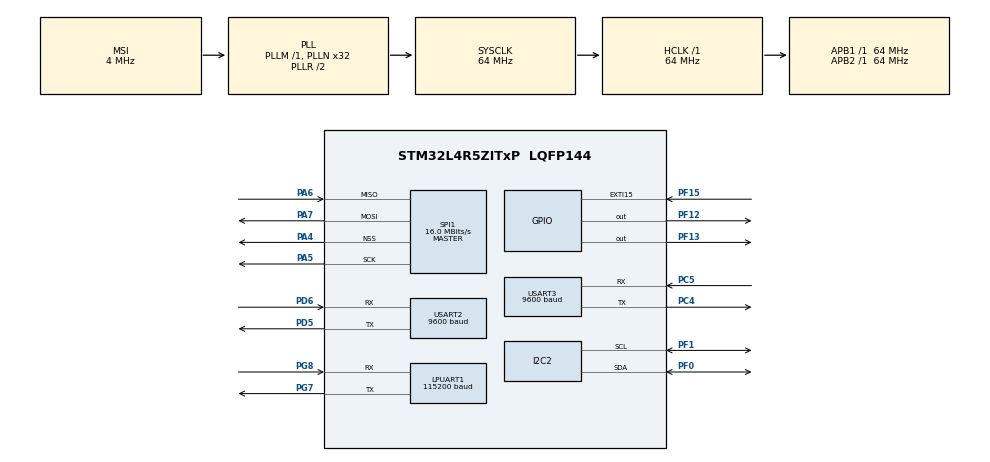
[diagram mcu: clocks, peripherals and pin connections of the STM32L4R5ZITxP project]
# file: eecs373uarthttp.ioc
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I2C2.Timing=0x10707DBC
LPUART1.BaudRate=115200
LPUART1.WordLength=UART_WORDLENGTH_8B
Mcu.Family=STM32L4
Mcu.Name=STM32L4R5ZITxP
Mcu.Package=LQFP144
NVIC.EXTI15_10_IRQn=true\:0\:0\:false\:false\:true\:true\:true\:true
NVIC.PriorityGroup=NVIC_PRIORITYGROUP_4
NVIC.TIM1_UP_TIM16_IRQn=true\:0\:0\:false\:false\:true\:true\:true\:true
NVIC.USART3_IRQn=true\:0\:0\:false\:false\:true\:true\:true\:true
PA0.Signal=S_TIM2_CH1
PA10.Signal=USB_OTG_FS_ID
PA13\ (JTMS/SWDIO).Signal=SYS_JTMS-SWDIO
PA14\ (JTCK/SWCLK).Signal=SYS_JTCK-SWCLK
PA3.Signal=ADCx_IN8
PA4.Mode=NSS_Signal_Hard_Output
PA4.Signal=SPI1_NSS
PA5.Mode=Full_Duplex_Master
PA5.Signal=SPI1_SCK
PA6.Mode=Full_Duplex_Master
PA6.Signal=SPI1_MISO
PA7.Mode=Full_Duplex_Master
PA7.Signal=SPI1_MOSI
PA8.Signal=USB_OTG_FS_SOF
PA9.Signal=USB_OTG_FS_VBUS
PB0.Signal=S_TIM3_CH3
PB1.Signal=ADCx_IN16
PB10.Signal=S_TIM2_CH3
PB12.Signal=SAI2_FS_A
PB13.Signal=SAI2_SCK_A
PB14.Signal=S_TIM15_CH1
PB15.Signal=SAI2_SD_A
PB2.Signal=COMP1_INP
PB3\ (JTDO/TRACESWO).Signal=SPI3_SCK
PB4\ (NJTRST).Signal=SPI3_MISO
PB5.Signal=SPI3_MOSI
PB6.Signal=COMP2_INP
PB8.GPIO_Pu=GPIO_PULLUP
PB8.Signal=I2C1_SCL
PB9.GPIO_Pu=GPIO_PULLUP
PB9.Signal=I2C1_SDA
PC0.Signal=ADCx_IN1
PC1.Signal=ADCx_IN2
PC10.Signal=SDMMC1_D2
PC11.Signal=SDMMC1_D3
PC12.Signal=SDMMC1_CK
PC13.Signal=SYS_WKUP2
PC14-OSC32_IN\ (PC14).Signal=RCC_OSC32_IN
PC15-OSC32_OUT\ (PC15).Signal=RCC_OSC32_OUT
PC2.Signal=ADCx_IN3
PC3.Signal=ADCx_IN4
PC4.Mode=Asynchronous
PC4.Signal=USART3_TX
PC5.Mode=Asynchronous
PC5.Signal=USART3_RX
PC6.Signal=SAI2_MCLK_A
PC7.Signal=S_TIM3_CH2
PC8.Signal=SDMMC1_D0
PC9.Signal=SDMMC1_D1
PD0.Signal=CAN1_RX
PD14.Signal=S_TIM4_CH3
PD15.Signal=S_TIM4_CH4
PD2.Signal=SDMMC1_CMD
PD3.Signal=USART2_CTS
PD4.Signal=USART2_RTS
PD5.Mode=Asynchronous
PD5.Signal=USART2_TX
PD6.Mode=Asynchronous
PD6.Signal=USART2_RX
PE0.Signal=S_TIM4_ETR
PE10.Signal=TIM1_CH2N
PE11.Signal=S_TIM1_CH2
PE12.Signal=TIM1_CH3N
PE13.Signal=S_TIM1_CH3
PE14.Signal=TIM1_BKIN2
PE15.Signal=TIM1_BKIN
PE2.Signal=SAI1_MCLK_A
PE3.Signal=SAI1_SD_B
PE7.Signal=S_TIM1_ETR
PE8.Signal=TIM1_CH1N
PE9.Signal=S_TIM1_CH1
PF0.GPIO_Pu=GPIO_PULLUP
PF0.Mode=I2C
PF0.Signal=I2C2_SDA
PF1.GPIO_Pu=GPIO_PULLUP
PF1.Mode=I2C
PF1.Signal=I2C2_SCL
PF12.Signal=GPIO_Output
PF13.Signal=GPIO_Output
PF15.GPIO_ModeDefaultEXTI=GPIO_MODE_IT_FALLING
PF15.GPIO_PuPd=GPIO_PULLUP
PF15.Signal=GPXTI15
PF2.Signal=I2C2_SMBA
PF7.Signal=SAI1_MCLK_B
PG7.Mode=Asynchronous
PG7.Signal=LPUART1_TX
PG8.Mode=Asynchronous
PG8.Signal=LPUART1_RX
PH0-OSC_IN\ (PH0).Signal=RCC_OSC_IN
PH1-OSC_OUT\ (PH1).Signal=RCC_OSC_OUT
ProjectManager.HeapSize=0x200
ProjectManager.StackSize=0x400
ProjectManager.TargetToolchain=STM32CubeIDE
RCC.ADCFreq_Value=16000000
RCC.AHBFreq_Value=64000000
RCC.APB1Freq_Value=64000000
RCC.APB1TimFreq_Value=64000000
RCC.APB2Freq_Value=64000000
RCC.APB2TimFreq_Value=64000000
RCC.CortexFreq_Value=64000000
RCC.HCLKFreq_Value=64000000
RCC.HSE_VALUE=8000000
RCC.HSI48_VALUE=48000000
RCC.HSI_VALUE=16000000
RCC.LSE_VALUE=32768
RCC.MSI_VALUE=4000000
RCC.PLLN=32
RCC.SYSCLKFreq_VALUE=64000000
RCC.SYSCLKSource=RCC_SYSCLKSOURCE_PLLCLK
RCC.USBFreq_Value=16000000
RCC.VCOOutputFreq_Value=128000000
SH.ADCx_IN1.0=ADC1_IN1
SH.ADCx_IN16.0=ADC1_IN16
SH.ADCx_IN2.0=ADC1_IN2
SH.ADCx_IN3.0=ADC1_IN3
SH.ADCx_IN4.0=ADC1_IN4
SH.ADCx_IN8.0=ADC1_IN8
SH.S_TIM15_CH1.0=TIM15_CH1
SH.S_TIM1_CH1.0=TIM1_CH1
SH.S_TIM1_CH2.0=TIM1_CH2
SH.S_TIM1_CH3.0=TIM1_CH3
SH.S_TIM1_ETR.0=TIM1_ETR
SH.S_TIM2_CH1.0=TIM2_CH1
SH.S_TIM2_CH3.0=TIM2_CH3
SH.S_TIM3_CH2.0=TIM3_CH2
SH.S_TIM3_CH3.0=TIM3_CH3
SH.S_TIM4_CH3.0=TIM4_CH3
SH.S_TIM4_CH4.0=TIM4_CH4
SH.S_TIM4_ETR.0=TIM4_ETR
SPI1.BaudRatePrescaler=SPI_BAUDRATEPRESCALER_4
SPI1.CalculateBaudRate=16.0 MBits/s
SPI1.DataSize=SPI_DATASIZE_8BIT
SPI1.Direction=SPI_DIRECTION_2LINES
SPI1.Mode=SPI_MODE_MASTER
SPI1.VirtualNSS=VM_NSSHARD
SPI1.VirtualType=VM_MASTER
TIM1.Period=39999
TIM1.Prescaler=30000
USART2.BaudRate=9600
USART2.VirtualMode-Asynchronous=VM_ASYNC
USART3.BaudRate=9600
USART3.VirtualMode-Asynchronous=VM_ASYNC
VP_TIM1_VS_ClockSourceINT.Mode=Internal
board=NUCLEO-L4R5ZI-P

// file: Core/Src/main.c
/* USER CODE BEGIN Header */
/**
  ******************************************************************************
  * @file           : main.c
  * @brief          : Main program body
  ******************************************************************************
  * @attention
  *
  * Copyright (c) 2024 STMicroelectronics.
  * All rights reserved.
  *
  * This software is licensed under terms that can be found in the LICENSE file
  * in the root directory of this software component.
  * If no LICENSE file comes with this software, it is provided AS-IS.
  *
  ******************************************************************************
  */
/* USER CODE END Header */
#include "main.h"

/* USER CODE BEGIN Includes */
#include "stdio.h"
#include "stdlib.h"
#include "string.h"
#include "foodorder.h"
#include "screen.h"
#include "touch.h"
#include "kioskUART.h"
/* USER CODE END Includes */

/* USER CODE BEGIN PD */
#define RX_BUFFER_SIZE 256
#define SENSOR_ADDR 0x0C << 1 // Shift left for the HAL library
#define READ_LEN 2 // Start by reading the 16-bit content length
/* USER CODE END PD */

I2C_HandleTypeDef hi2c2;

UART_HandleTypeDef hlpuart1;
UART_HandleTypeDef huart2;
UART_HandleTypeDef huart3;

SPI_HandleTypeDef hspi1;

TIM_HandleTypeDef htim1;

/* USER CODE BEGIN PV */
char rxBuffer[RX_BUFFER_SIZE];
FoodOrder foodOrders[MAX_FOOD_ORDERS];
FoodOrder prevFoodOrders[MAX_FOOD_ORDERS];
int ignore_next_request = 0;
volatile uint16_t rxIndex = 0;
uint32_t i = 0;
/* USER CODE END PV */

void SystemClock_Config(void);
static void MX_GPIO_Init(void);
static void MX_USART3_UART_Init(void);
static void MX_LPUART1_UART_Init(void);
static void MX_TIM1_Init(void);
static void MX_I2C2_Init(void);
static void MX_SPI1_Init(void);
static void MX_USART2_UART_Init(void);
/* USER CODE BEGIN PFP */
void processReceivedData(char* data);
/* USER CODE END PFP */

/* USER CODE BEGIN 0 */

static void uartSend (char *str);
int prevIdCode = -1;
void openDoor(int id){
	printf("Open The door signal sent with id %d\r\n", id);
	int index = FoodOrder_FindIndex(id, foodOrders);
	if (index == -1) {
		printf("Invariant broken: couldn't find button corresponding to ID.\r\n");
		return;
	}
	foodOrders[index].state = OpenedQR;
	open_locker(&huart2, foodOrders[index].box);
}

void readTinyCodeData(void) {
    uint8_t readBuffer[256]; // Buffer to store the read data
    uint16_t contentLength = 0;

    // First, read the content length
    HAL_StatusTypeDef status = HAL_I2C_Master_Receive(&hi2c2, SENSOR_ADDR, readBuffer, READ_LEN, 1000);
    if(status != HAL_OK) {
        // Handle communication error
    } else {
        // If read is successful, parse the content length
        contentLength = readBuffer[0] | (readBuffer[1] << 8);
        if(contentLength == 0){
        	return;
        }
        if(contentLength > 0 && contentLength <= 254) {
            // Now, read the actual content based on the content length
            status = HAL_I2C_Master_Receive(&hi2c2, SENSOR_ADDR, readBuffer, contentLength + 2, 1000);
            if(status != HAL_OK) {
                // Handle communication error
            } else {
                // Data is now in readBuffer[2] to readBuffer[contentLength+1], process it as needed
                // Remember to handle non-UTF-8 or other data safely
            	readBuffer[contentLength + 3] = '\0';
//            	for(int i =0; i < contentLength; ++i){
//            		printf("%c",readBuffer[2 + i]);
//            	}

            	int parsedId = atoi((char *)readBuffer + 2);
            	if(parsedId == 0){
                       return;
                        	}
            	if (parsedId != prevIdCode){
            		prevIdCode = parsedId;
            		openDoor(parsedId);
            	}
            }
        } else {
            // No content or content length invalid
        }
    }
}
void HAL_TIM_PeriodElapsedCallback(TIM_HandleTypeDef *htim){
	printf("Timer triggered.\r\n");
	if(htim->Instance == TIM1){
		  uartSend("LIST\n");
		  HAL_UART_Receive_IT(&huart3, (uint8_t*)&rxBuffer[rxIndex], 1);
	}
}
void HAL_UART_RxCpltCallback(UART_HandleTypeDef *huart) {
	if(huart->Instance == USART3){

		 ++i;
		 while(i > 0){
		 //		  printf("%c", rxBuffer[rxIndex]);
		 	 	if (rxBuffer[rxIndex] == '\n' || rxIndex >= RX_BUFFER_SIZE - 1 ||rxBuffer[rxIndex] == '\r' ) {
		 	 		// Null-terminate the string
		 	 		rxBuffer[rxIndex] = '\0';

		 	 		// Process received data
		 	 		processReceivedData(rxBuffer);

		 	 		// Reset index
		 	 		rxIndex = 0;
		 	 		} else {
		 	 		// Increment index to receive the next byte
		 	 		rxIndex++;
		 	 	}
		 	 		// Prepare to receive the next byte
		 	 		HAL_UART_Receive_IT(&huart3, (uint8_t*)&rxBuffer[rxIndex], 1);

		 	 		  --i;
		 	 	  }
	}

}
void setBox(int id, int box){
	 char command[10];
	 sprintf(command, "PUT%d%d\n", box, id);
	 uartSend(command);
}
void deleteBox(int id){
	 char command[17];
	 sprintf(command, "DELETE%d\n", id);
	 uartSend(command);
}
void processReceivedData(char* data) {
	if(ignore_next_request){
		ignore_next_request = 0;
		return;
	}
	if(strcmp(data, "DATA") != 0){
		return;
	}
  data += 5;
    int totalOrders = atoi(data);
    data += 3;
    int processedOrders = 0;
    for (int i = 0; i < MAX_FOOD_ORDERS; ++i){
          		FoodOrder_Init(&foodOrders[i]);
          	}
    if(totalOrders == 0){
    	return;
    }

    while(processedOrders < totalOrders){

    	foodOrders[processedOrders].id = atoi(data);
    	data += 11;
    	strcpy(foodOrders[processedOrders].name, data);
    	while(*data != '\0'){
    		++data;
    	}
    	++data;
    	foodOrders[processedOrders].box = atoi(data);
    	data += 2;
    	foodOrders[processedOrders].valid = 1;
    	if (prevFoodOrders[processedOrders].id == foodOrders[processedOrders].id && prevFoodOrders[processedOrders].valid){
    		foodOrders[processedOrders].state = prevFoodOrders[processedOrders].state;
    	}
    	else if (foodOrders[processedOrders].box != 0) {
    		foodOrders[processedOrders].state = Occupied;
    	}else{
    		foodOrders[processedOrders].state = Empty;
    	}
    	++processedOrders;
    }
    for(int i = 0; i < processedOrders; ++i){
    	if(!foodOrders[i].valid) continue;
    	printf("Name: %s\r\n", foodOrders[i].name);
    	printf("id: %d\r\n", foodOrders[i].id);
    	printf("box: %d\r\n", foodOrders[i].box);
    }
}
static void uartSend (char *str)
{
	HAL_UART_Transmit(&huart3, (uint8_t *) str, strlen (str), 1000);
}

int pendingTouch = 0;
void HAL_GPIO_EXTI_Callback(uint16_t GPIO_Pin)
{
  	pendingTouch = 1;
}

/* USER CODE END 0 */

int main(void)
{

  /* USER CODE BEGIN 1 */
	for (int i = 0; i < MAX_FOOD_ORDERS; ++i){
		FoodOrder_Init(&foodOrders[i]);
		foodOrders[i].state = Empty;
	}
	for (int i = 0; i < MAX_FOOD_ORDERS; ++i){
		FoodOrder_Init(&prevFoodOrders[i]);
		prevFoodOrders[i].state = Empty;
	}
  /* USER CODE END 1 */

  /* MCU Configuration--------------------------------------------------------*/

  /* Reset of all peripherals, Initializes the Flash interface and the Systick. */
  HAL_Init();

  /* Configure the system clock */
  SystemClock_Config();

  /* Initialize all configured peripherals */
  MX_GPIO_Init();
  MX_USART3_UART_Init();
  MX_LPUART1_UART_Init();
  MX_TIM1_Init();
  MX_I2C2_Init();
  MX_SPI1_Init();
  MX_USART2_UART_Init();
  /* USER CODE BEGIN 2 */

  HAL_TIM_Base_Start_IT(&htim1);
  /* USER CODE END 2 */

  /* Infinite loop */
  /* USER CODE BEGIN WHILE */

  box_count = init_stream(&huart2);
  box_count = MAX_FOOD_ORDERS < box_count ? MAX_FOOD_ORDERS : box_count;
  for (int i = 0; i < box_count; i++) {
	  close_locker(&huart2, i+1);
  }
  initialize_touch(&hi2c2);
  initialize_screen(&hspi1);
  draw(&hspi1);
  uartSend("LIST\n");
  HAL_UART_Receive_IT(&huart3, (uint8_t*)&rxBuffer[rxIndex], 1);

  while (1)
  {

	  if (pendingTouch) {
		  pendingTouch = 0; // put this at the end to debounce or something

		  uint8_t button = touchHook(&hi2c2);
		  FoodOrder* order = &foodOrders[button];

		  switch (order->state) {
		  case Empty:
			  // Select box and open it

			  int newBox = FoodOrders_FindEmpty(foodOrders);
			  if (newBox == -1) break;
			  order->box = newBox;
			  order->state = OpenedDelivery;

			  setBox(order->id, order->box);

			  open_locker(&huart2, order->box);

			  break;
		  case OpenedDelivery:
			  // Close box
			  order->state = Occupied;

			  close_locker(&huart2, order->box);

			  break;
		  case Occupied:
			  // Ignore because locked
			  break;
		  case OpenedQR:
			  // Close box

			  close_locker(&huart2, order->box);

			  order->state = Empty;
			  order->valid = 0;
			  order->box = 0;
			  ignore_next_request = 1;
			  deleteBox(order->id);

			  break;
		  }
	  }

	  if (!FoodOrders_Equal(prevFoodOrders, foodOrders)) {
		   FoodOrders_Copy(prevFoodOrders, foodOrders);

		  for (int i = 0; i < MAX_FOOD_ORDERS; i++) {
			  FoodOrder* order = &foodOrders[i];

			  char message[25];
			  if (!order->valid) {
				  message[0] = '\0';
			  } else if (order->state == Empty) {
				  strcpy(message, foodOrders[i].name);
			  } else {
				  sprintf(message, "[%d] %s", order->box, order->name);
			  }

			  drawButton(&hspi1, i, 1, message);
		  }
	  }

	  HAL_Delay(10);
	  readTinyCodeData();
    /* USER CODE END WHILE */

  }
}

void SystemClock_Config(void)
{
  RCC_OscInitTypeDef RCC_OscInitStruct = {0};
  RCC_ClkInitTypeDef RCC_ClkInitStruct = {0};

  /** Configure the main internal regulator output voltage
  */
  if (HAL_PWREx_ControlVoltageScaling(PWR_REGULATOR_VOLTAGE_SCALE1) != HAL_OK)
  {
    Error_Handler();
  }

  /** Initializes the RCC Oscillators according to the specified parameters
  * in the RCC_OscInitTypeDef structure.
  */
  RCC_OscInitStruct.OscillatorType = RCC_OSCILLATORTYPE_MSI;
  RCC_OscInitStruct.MSIState = RCC_MSI_ON;
  RCC_OscInitStruct.MSICalibrationValue = 0;
  RCC_OscInitStruct.MSIClockRange = RCC_MSIRANGE_6;
  RCC_OscInitStruct.PLL.PLLState = RCC_PLL_ON;
  RCC_OscInitStruct.PLL.PLLSource = RCC_PLLSOURCE_MSI;
  RCC_OscInitStruct.PLL.PLLM = 1;
  RCC_OscInitStruct.PLL.PLLN = 32;
  RCC_OscInitStruct.PLL.PLLP = RCC_PLLP_DIV2;
  RCC_OscInitStruct.PLL.PLLQ = RCC_PLLQ_DIV2;
  RCC_OscInitStruct.PLL.PLLR = RCC_PLLR_DIV2;
  if (HAL_RCC_OscConfig(&RCC_OscInitStruct) != HAL_OK)
  {
    Error_Handler();
  }

  /** Initializes the CPU, AHB and APB buses clocks
  */
  RCC_ClkInitStruct.ClockType = RCC_CLOCKTYPE_HCLK|RCC_CLOCKTYPE_SYSCLK
                              |RCC_CLOCKTYPE_PCLK1|RCC_CLOCKTYPE_PCLK2;
  RCC_ClkInitStruct.SYSCLKSource = RCC_SYSCLKSOURCE_PLLCLK;
  RCC_ClkInitStruct.AHBCLKDivider = RCC_SYSCLK_DIV1;
  RCC_ClkInitStruct.APB1CLKDivider = RCC_HCLK_DIV1;
  RCC_ClkInitStruct.APB2CLKDivider = RCC_HCLK_DIV1;

  if (HAL_RCC_ClockConfig(&RCC_ClkInitStruct, FLASH_LATENCY_3) != HAL_OK)
  {
    Error_Handler();
  }
}

static void MX_I2C2_Init(void)
{

  hi2c2.Instance = I2C2;
  hi2c2.Init.Timing = 0x10707DBC;
  hi2c2.Init.OwnAddress1 = 0;
  hi2c2.Init.AddressingMode = I2C_ADDRESSINGMODE_7BIT;
  hi2c2.Init.DualAddressMode = I2C_DUALADDRESS_DISABLE;
  hi2c2.Init.OwnAddress2 = 0;
  hi2c2.Init.OwnAddress2Masks = I2C_OA2_NOMASK;
  hi2c2.Init.GeneralCallMode = I2C_GENERALCALL_DISABLE;
  hi2c2.Init.NoStretchMode = I2C_NOSTRETCH_DISABLE;
  if (HAL_I2C_Init(&hi2c2) != HAL_OK)
  {
    Error_Handler();
  }

  /** Configure Analogue filter
  */
  if (HAL_I2CEx_ConfigAnalogFilter(&hi2c2, I2C_ANALOGFILTER_ENABLE) != HAL_OK)
  {
    Error_Handler();
  }

  /** Configure Digital filter
  */
  if (HAL_I2CEx_ConfigDigitalFilter(&hi2c2, 0) != HAL_OK)
  {
    Error_Handler();
  }

}

static void MX_LPUART1_UART_Init(void)
{

  hlpuart1.Instance = LPUART1;
  hlpuart1.Init.BaudRate = 115200;
  hlpuart1.Init.WordLength = UART_WORDLENGTH_8B;
  hlpuart1.Init.StopBits = UART_STOPBITS_1;
  hlpuart1.Init.Parity = UART_PARITY_NONE;
  hlpuart1.Init.Mode = UART_MODE_TX_RX;
  hlpuart1.Init.HwFlowCtl = UART_HWCONTROL_NONE;
  hlpuart1.Init.OneBitSampling = UART_ONE_BIT_SAMPLE_DISABLE;
  hlpuart1.Init.ClockPrescaler = UART_PRESCALER_DIV1;
  hlpuart1.AdvancedInit.AdvFeatureInit = UART_ADVFEATURE_NO_INIT;
  hlpuart1.FifoMode = UART_FIFOMODE_DISABLE;
  if (HAL_UART_Init(&hlpuart1) != HAL_OK)
  {
    Error_Handler();
  }
  if (HAL_UARTEx_SetTxFifoThreshold(&hlpuart1, UART_TXFIFO_THRESHOLD_1_8) != HAL_OK)
  {
    Error_Handler();
  }
  if (HAL_UARTEx_SetRxFifoThreshold(&hlpuart1, UART_RXFIFO_THRESHOLD_1_8) != HAL_OK)
  {
    Error_Handler();
  }
  if (HAL_UARTEx_DisableFifoMode(&hlpuart1) != HAL_OK)
  {
    Error_Handler();
  }

}

static void MX_USART2_UART_Init(void)
{

  huart2.Instance = USART2;
  huart2.Init.BaudRate = 9600;
  huart2.Init.WordLength = UART_WORDLENGTH_8B;
  huart2.Init.StopBits = UART_STOPBITS_1;
  huart2.Init.Parity = UART_PARITY_NONE;
  huart2.Init.Mode = UART_MODE_TX_RX;
  huart2.Init.HwFlowCtl = UART_HWCONTROL_NONE;
  huart2.Init.OverSampling = UART_OVERSAMPLING_16;
  huart2.Init.OneBitSampling = UART_ONE_BIT_SAMPLE_DISABLE;
  huart2.Init.ClockPrescaler = UART_PRESCALER_DIV1;
  huart2.AdvancedInit.AdvFeatureInit = UART_ADVFEATURE_NO_INIT;
  if (HAL_UART_Init(&huart2) != HAL_OK)
  {
    Error_Handler();
  }
  if (HAL_UARTEx_SetTxFifoThreshold(&huart2, UART_TXFIFO_THRESHOLD_1_8) != HAL_OK)
  {
    Error_Handler();
  }
  if (HAL_UARTEx_SetRxFifoThreshold(&huart2, UART_RXFIFO_THRESHOLD_1_8) != HAL_OK)
  {
    Error_Handler();
  }
  if (HAL_UARTEx_DisableFifoMode(&huart2) != HAL_OK)
  {
    Error_Handler();
  }

}

static void MX_USART3_UART_Init(void)
{

  huart3.Instance = USART3;
  huart3.Init.BaudRate = 9600;
  huart3.Init.WordLength = UART_WORDLENGTH_8B;
  huart3.Init.StopBits = UART_STOPBITS_1;
  huart3.Init.Parity = UART_PARITY_NONE;
  huart3.Init.Mode = UART_MODE_TX_RX;
  huart3.Init.HwFlowCtl = UART_HWCONTROL_NONE;
  huart3.Init.OverSampling = UART_OVERSAMPLING_16;
  huart3.Init.OneBitSampling = UART_ONE_BIT_SAMPLE_DISABLE;
  huart3.Init.ClockPrescaler = UART_PRESCALER_DIV1;
  huart3.AdvancedInit.AdvFeatureInit = UART_ADVFEATURE_NO_INIT;
  if (HAL_UART_Init(&huart3) != HAL_OK)
  {
    Error_Handler();
  }
  if (HAL_UARTEx_SetTxFifoThreshold(&huart3, UART_TXFIFO_THRESHOLD_1_8) != HAL_OK)
  {
    Error_Handler();
  }
  if (HAL_UARTEx_SetRxFifoThreshold(&huart3, UART_RXFIFO_THRESHOLD_1_8) != HAL_OK)
  {
    Error_Handler();
  }
  if (HAL_UARTEx_DisableFifoMode(&huart3) != HAL_OK)
  {
    Error_Handler();
  }

}

static void MX_SPI1_Init(void)
{

  /* SPI1 parameter configuration*/
  hspi1.Instance = SPI1;
  hspi1.Init.Mode = SPI_MODE_MASTER;
  hspi1.Init.Direction = SPI_DIRECTION_2LINES;
  hspi1.Init.DataSize = SPI_DATASIZE_8BIT;
  hspi1.Init.CLKPolarity = SPI_POLARITY_LOW;
  hspi1.Init.CLKPhase = SPI_PHASE_1EDGE;
  hspi1.Init.NSS = SPI_NSS_HARD_OUTPUT;
  hspi1.Init.BaudRatePrescaler = SPI_BAUDRATEPRESCALER_4;
  hspi1.Init.FirstBit = SPI_FIRSTBIT_MSB;
  hspi1.Init.TIMode = SPI_TIMODE_DISABLE;
  hspi1.Init.CRCCalculation = SPI_CRCCALCULATION_DISABLE;
  hspi1.Init.CRCPolynomial = 7;
  hspi1.Init.CRCLength = SPI_CRC_LENGTH_DATASIZE;
  hspi1.Init.NSSPMode = SPI_NSS_PULSE_ENABLE;
  if (HAL_SPI_Init(&hspi1) != HAL_OK)
  {
    Error_Handler();
  }

}

static void MX_TIM1_Init(void)
{

  TIM_ClockConfigTypeDef sClockSourceConfig = {0};
  TIM_MasterConfigTypeDef sMasterConfig = {0};

  htim1.Instance = TIM1;
  htim1.Init.Prescaler = 30000;
  htim1.Init.CounterMode = TIM_COUNTERMODE_UP;
  htim1.Init.Period = 39999;
  htim1.Init.ClockDivision = TIM_CLOCKDIVISION_DIV1;
  htim1.Init.RepetitionCounter = 0;
  htim1.Init.AutoReloadPreload = TIM_AUTORELOAD_PRELOAD_DISABLE;
  if (HAL_TIM_Base_Init(&htim1) != HAL_OK)
  {
    Error_Handler();
  }
  sClockSourceConfig.ClockSource = TIM_CLOCKSOURCE_INTERNAL;
  if (HAL_TIM_ConfigClockSource(&htim1, &sClockSourceConfig) != HAL_OK)
  {
    Error_Handler();
  }
  sMasterConfig.MasterOutputTrigger = TIM_TRGO_RESET;
  sMasterConfig.MasterOutputTrigger2 = TIM_TRGO2_RESET;
  sMasterConfig.MasterSlaveMode = TIM_MASTERSLAVEMODE_DISABLE;
  if (HAL_TIMEx_MasterConfigSynchronization(&htim1, &sMasterConfig) != HAL_OK)
  {
    Error_Handler();
  }

}

static void MX_GPIO_Init(void)
{
  GPIO_InitTypeDef GPIO_InitStruct = {0};

  /* GPIO Ports Clock Enable */
  __HAL_RCC_GPIOE_CLK_ENABLE();
  __HAL_RCC_GPIOC_CLK_ENABLE();
  __HAL_RCC_GPIOF_CLK_ENABLE();
  __HAL_RCC_GPIOH_CLK_ENABLE();
  __HAL_RCC_GPIOA_CLK_ENABLE();
  __HAL_RCC_GPIOB_CLK_ENABLE();
  __HAL_RCC_GPIOD_CLK_ENABLE();
  __HAL_RCC_GPIOG_CLK_ENABLE();
  HAL_PWREx_EnableVddIO2();

  /*Configure GPIO pin Output Level */
  HAL_GPIO_WritePin(GPIOF, GPIO_PIN_12|GPIO_PIN_13, GPIO_PIN_RESET);

  /*Configure GPIO pins : PE2 PE3 */
  GPIO_InitStruct.Pin = GPIO_PIN_2|GPIO_PIN_3;
  GPIO_InitStruct.Mode = GPIO_MODE_AF_PP;
  GPIO_InitStruct.Pull = GPIO_NOPULL;
  GPIO_InitStruct.Speed = GPIO_SPEED_FREQ_LOW;
  GPIO_InitStruct.Alternate = GPIO_AF13_SAI1;
  HAL_GPIO_Init(GPIOE, &GPIO_InitStruct);

  /*Configure GPIO pin : PF7 */
  GPIO_InitStruct.Pin = GPIO_PIN_7;
  GPIO_InitStruct.Mode = GPIO_MODE_AF_PP;
  GPIO_InitStruct.Pull = GPIO_NOPULL;
  GPIO_InitStruct.Speed = GPIO_SPEED_FREQ_LOW;
  GPIO_InitStruct.Alternate = GPIO_AF13_SAI1;
  HAL_GPIO_Init(GPIOF, &GPIO_InitStruct);

  /*Configure GPIO pins : PC0 PC1 PC2 PC3 */
  GPIO_InitStruct.Pin = GPIO_PIN_0|GPIO_PIN_1|GPIO_PIN_2|GPIO_PIN_3;
  GPIO_InitStruct.Mode = GPIO_MODE_ANALOG_ADC_CONTROL;
  GPIO_InitStruct.Pull = GPIO_NOPULL;
  HAL_GPIO_Init(GPIOC, &GPIO_InitStruct);

  /*Configure GPIO pin : PA0 */
  GPIO_InitStruct.Pin = GPIO_PIN_0;
  GPIO_InitStruct.Mode = GPIO_MODE_AF_PP;
  GPIO_InitStruct.Pull = GPIO_NOPULL;
  GPIO_InitStruct.Speed = GPIO_SPEED_FREQ_LOW;
  GPIO_InitStruct.Alternate = GPIO_AF1_TIM2;
  HAL_GPIO_Init(GPIOA, &GPIO_InitStruct);

  /*Configure GPIO pin : PA3 */
  GPIO_InitStruct.Pin = GPIO_PIN_3;
  GPIO_InitStruct.Mode = GPIO_MODE_ANALOG_ADC_CONTROL;
  GPIO_InitStruct.Pull = GPIO_NOPULL;
  HAL_GPIO_Init(GPIOA, &GPIO_InitStruct);

  /*Configure GPIO pin : PB0 */
  GPIO_InitStruct.Pin = GPIO_PIN_0;
  GPIO_InitStruct.Mode = GPIO_MODE_AF_PP;
  GPIO_InitStruct.Pull = GPIO_NOPULL;
  GPIO_InitStruct.Speed = GPIO_SPEED_FREQ_LOW;
  GPIO_InitStruct.Alternate = GPIO_AF2_TIM3;
  HAL_GPIO_Init(GPIOB, &GPIO_InitStruct);

  /*Configure GPIO pin : PB1 */
  GPIO_InitStruct.Pin = GPIO_PIN_1;
  GPIO_InitStruct.Mode = GPIO_MODE_ANALOG_ADC_CONTROL;
  GPIO_InitStruct.Pull = GPIO_NOPULL;
  HAL_GPIO_Init(GPIOB, &GPIO_InitStruct);

  /*Configure GPIO pins : PB2 PB6 */
  GPIO_InitStruct.Pin = GPIO_PIN_2|GPIO_PIN_6;
  GPIO_InitStruct.Mode = GPIO_MODE_ANALOG;
  GPIO_InitStruct.Pull = GPIO_NOPULL;
  HAL_GPIO_Init(GPIOB, &GPIO_InitStruct);

  /*Configure GPIO pins : PF12 PF13 */
  GPIO_InitStruct.Pin = GPIO_PIN_12|GPIO_PIN_13;
  GPIO_InitStruct.Mode = GPIO_MODE_OUTPUT_PP;
  GPIO_InitStruct.Pull = GPIO_NOPULL;
  GPIO_InitStruct.Speed = GPIO_SPEED_FREQ_LOW;
  HAL_GPIO_Init(GPIOF, &GPIO_InitStruct);

  /*Configure GPIO pin : PF15 */
  GPIO_InitStruct.Pin = GPIO_PIN_15;
  GPIO_InitStruct.Mode = GPIO_MODE_IT_FALLING;
  GPIO_InitStruct.Pull = GPIO_PULLUP;
  HAL_GPIO_Init(GPIOF, &GPIO_InitStruct);

  /*Configure GPIO pin : PB10 */
  GPIO_InitStruct.Pin = GPIO_PIN_10;
  GPIO_InitStruct.Mode = GPIO_MODE_AF_PP;
  GPIO_InitStruct.Pull = GPIO_NOPULL;
  GPIO_InitStruct.Speed = GPIO_SPEED_FREQ_LOW;
  GPIO_InitStruct.Alternate = GPIO_AF1_TIM2;
  HAL_GPIO_Init(GPIOB, &GPIO_InitStruct);

  /*Configure GPIO pins : PB12 PB13 PB15 */
  GPIO_InitStruct.Pin = GPIO_PIN_12|GPIO_PIN_13|GPIO_PIN_15;
  GPIO_InitStruct.Mode = GPIO_MODE_AF_PP;
  GPIO_InitStruct.Pull = GPIO_NOPULL;
  GPIO_InitStruct.Speed = GPIO_SPEED_FREQ_LOW;
  GPIO_InitStruct.Alternate = GPIO_AF13_SAI2;
  HAL_GPIO_Init(GPIOB, &GPIO_InitStruct);

  /*Configure GPIO pin : PB14 */
  GPIO_InitStruct.Pin = GPIO_PIN_14;
  GPIO_InitStruct.Mode = GPIO_MODE_AF_PP;
  GPIO_InitStruct.Pull = GPIO_NOPULL;
  GPIO_InitStruct.Speed = GPIO_SPEED_FREQ_LOW;
  GPIO_InitStruct.Alternate = GPIO_AF14_TIM15;
  HAL_GPIO_Init(GPIOB, &GPIO_InitStruct);

  /*Configure GPIO pins : PD14 PD15 */
  GPIO_InitStruct.Pin = GPIO_PIN_14|GPIO_PIN_15;
  GPIO_InitStruct.Mode = GPIO_MODE_AF_PP;
  GPIO_InitStruct.Pull = GPIO_NOPULL;
  GPIO_InitStruct.Speed = GPIO_SPEED_FREQ_LOW;
  GPIO_InitStruct.Alternate = GPIO_AF2_TIM4;
  HAL_GPIO_Init(GPIOD, &GPIO_InitStruct);

  /*Configure GPIO pin : PC6 */
  GPIO_InitStruct.Pin = GPIO_PIN_6;
  GPIO_InitStruct.Mode = GPIO_MODE_AF_PP;
  GPIO_InitStruct.Pull = GPIO_NOPULL;
  GPIO_InitStruct.Speed = GPIO_SPEED_FREQ_LOW;
  GPIO_InitStruct.Alternate = GPIO_AF13_SAI2;
  HAL_GPIO_Init(GPIOC, &GPIO_InitStruct);

  /*Configure GPIO pin : PC7 */
  GPIO_InitStruct.Pin = GPIO_PIN_7;
  GPIO_InitStruct.Mode = GPIO_MODE_AF_PP;
  GPIO_InitStruct.Pull = GPIO_NOPULL;
  GPIO_InitStruct.Speed = GPIO_SPEED_FREQ_LOW;
  GPIO_InitStruct.Alternate = GPIO_AF2_TIM3;
  HAL_GPIO_Init(GPIOC, &GPIO_InitStruct);

  /*Configure GPIO pins : PC8 PC9 PC10 PC11
                           PC12 */
  GPIO_InitStruct.Pin = GPIO_PIN_8|GPIO_PIN_9|GPIO_PIN_10|GPIO_PIN_11
                          |GPIO_PIN_12;
  GPIO_InitStruct.Mode = GPIO_MODE_AF_PP;
  GPIO_InitStruct.Pull = GPIO_NOPULL;
  GPIO_InitStruct.Speed = GPIO_SPEED_FREQ_VERY_HIGH;
  GPIO_InitStruct.Alternate = GPIO_AF12_SDMMC1;
  HAL_GPIO_Init(GPIOC, &GPIO_InitStruct);

  /*Configure GPIO pins : PA8 PA10 */
  GPIO_InitStruct.Pin = GPIO_PIN_8|GPIO_PIN_10;
  GPIO_InitStruct.Mode = GPIO_MODE_AF_PP;
  GPIO_InitStruct.Pull = GPIO_NOPULL;
  GPIO_InitStruct.Speed = GPIO_SPEED_FREQ_VERY_HIGH;
  GPIO_InitStruct.Alternate = GPIO_AF10_OTG_FS;
  HAL_GPIO_Init(GPIOA, &GPIO_InitStruct);

  /*Configure GPIO pin : PA9 */
  GPIO_InitStruct.Pin = GPIO_PIN_9;
  GPIO_InitStruct.Mode = GPIO_MODE_INPUT;
  GPIO_InitStruct.Pull = GPIO_NOPULL;
  HAL_GPIO_Init(GPIOA, &GPIO_InitStruct);

  /*Configure GPIO pin : PD0 */
  GPIO_InitStruct.Pin = GPIO_PIN_0;
  GPIO_InitStruct.Mode = GPIO_MODE_AF_PP;
  GPIO_InitStruct.Pull = GPIO_NOPULL;
  GPIO_InitStruct.Speed = GPIO_SPEED_FREQ_VERY_HIGH;
  GPIO_InitStruct.Alternate = GPIO_AF9_CAN1;
  HAL_GPIO_Init(GPIOD, &GPIO_InitStruct);

  /*Configure GPIO pin : PD2 */
  GPIO_InitStruct.Pin = GPIO_PIN_2;
  GPIO_InitStruct.Mode = GPIO_MODE_AF_PP;
  GPIO_InitStruct.Pull = GPIO_NOPULL;
  GPIO_InitStruct.Speed = GPIO_SPEED_FREQ_VERY_HIGH;
  GPIO_InitStruct.Alternate = GPIO_AF12_SDMMC1;
  HAL_GPIO_Init(GPIOD, &GPIO_InitStruct);

  /*Configure GPIO pins : PB3 PB4 PB5 */
  GPIO_InitStruct.Pin = GPIO_PIN_3|GPIO_PIN_4|GPIO_PIN_5;
  GPIO_InitStruct.Mode = GPIO_MODE_AF_PP;
  GPIO_InitStruct.Pull = GPIO_NOPULL;
  GPIO_InitStruct.Speed = GPIO_SPEED_FREQ_VERY_HIGH;
  GPIO_InitStruct.Alternate = GPIO_AF6_SPI3;
  HAL_GPIO_Init(GPIOB, &GPIO_InitStruct);

  /*Configure GPIO pins : PB8 PB9 */
  GPIO_InitStruct.Pin = GPIO_PIN_8|GPIO_PIN_9;
  GPIO_InitStruct.Mode = GPIO_MODE_AF_OD;
  GPIO_InitStruct.Pull = GPIO_PULLUP;
  GPIO_InitStruct.Speed = GPIO_SPEED_FREQ_VERY_HIGH;
  GPIO_InitStruct.Alternate = GPIO_AF4_I2C1;
  HAL_GPIO_Init(GPIOB, &GPIO_InitStruct);

  /*Configure GPIO pin : PE0 */
  GPIO_InitStruct.Pin = GPIO_PIN_0;
  GPIO_InitStruct.Mode = GPIO_MODE_AF_PP;
  GPIO_InitStruct.Pull = GPIO_NOPULL;
  GPIO_InitStruct.Speed = GPIO_SPEED_FREQ_LOW;
  GPIO_InitStruct.Alternate = GPIO_AF2_TIM4;
  HAL_GPIO_Init(GPIOE, &GPIO_InitStruct);

  /* EXTI interrupt init*/
  HAL_NVIC_SetPriority(EXTI15_10_IRQn, 0, 0);
  HAL_NVIC_EnableIRQ(EXTI15_10_IRQn);

}

/* USER CODE BEGIN 4 */
#ifdef __GNUC__
#define PUTCHAR_PROTOTYPE int __io_putchar(int ch)
#else
  #define PUTCHAR_PROTOTYPE int fputc(int ch, FILE *f)
#endif /* __GNUC__ */
PUTCHAR_PROTOTYPE
{
  HAL_UART_Transmit(&hlpuart1, (uint8_t *)&ch, 1, 0xFFFF);
  return ch;
}

/* USER CODE END 4 */

void Error_Handler(void)
{
  __disable_irq();
  while (1)
  {
  }
}
